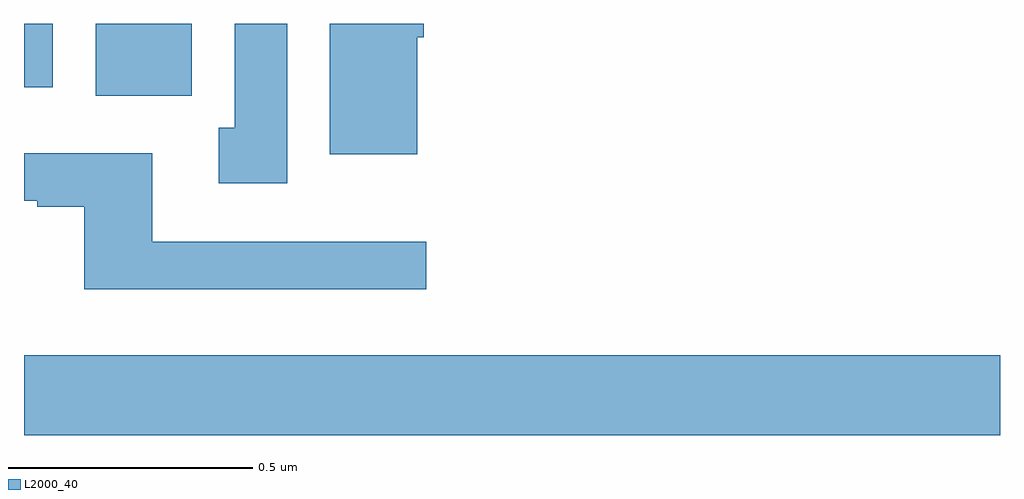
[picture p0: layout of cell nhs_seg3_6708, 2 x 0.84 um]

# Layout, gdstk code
import gdstk
lib = gdstk.Library(unit=1e-6, precision=1e-09)
def R(c, l, rs):  # rectangles x0, y0, x1, y1
    for r in rs: c.add(gdstk.rectangle(r[:2], r[2:], *l))
def P(c, l, *ps):  # polygons
    for p in ps: c.add(gdstk.Polygon(p, *l))
L2000_40 = (2000, 40)

nhs_seg3_6708 = lib.new_cell('nhs_seg3_6708')
R(nhs_seg3_6708, L2000_40, [(194,727.556,196,727.72), (194.147,728.252,194.344,728.4), (194,728.27,194.059,728.4)])
P(nhs_seg3_6708, L2000_40, [(194.806,728.372),(194.819,728.372),(194.819,728.4),(194.627,728.4),(194.627,728.132),(194.806,728.132)],
  [(194.539,728.4),(194.432,728.4),(194.432,728.186),(194.399,728.186),(194.399,728.073),(194.539,728.073)],
  [(194.824,727.953),(194.263,727.953),(194.263,728.134),(194,728.134),(194,728.037),(194.027,728.037),(194.027,728.025),(194.123,728.025),(194.123,727.856),(194.824,727.856)])

lib.write_gds('nhs_seg3_6708.gds')
